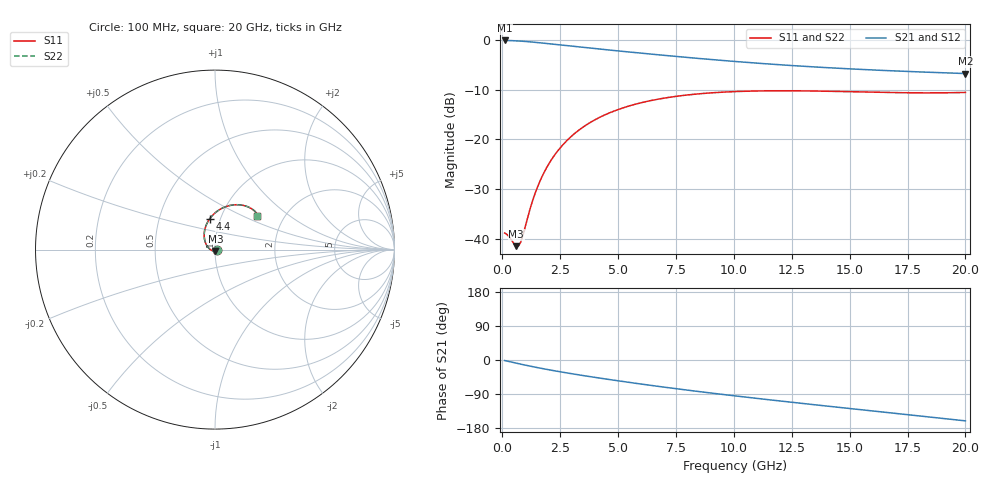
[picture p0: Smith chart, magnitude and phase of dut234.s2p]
! Created with skrf 1.9.0 (http://scikit-rf.org).
# GHz S RI R 50.0
!freq ReS11 ImS11 ReS21 ImS21 ReS12 ImS12 ReS22 ImS22
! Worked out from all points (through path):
!   200 points, 100 MHz to 20 GHz, reference 50 ohm
!   highest |S21| = -0.10 dB at 100 MHz (marker M1); lowest = -6.8 dB at 20 GHz (marker M2)
!   group delay of S21, straight-line fit = 21.1 ps
!   lowest |S11| = -41.5 dB at 600 MHz (marker M3), VSWR 1.02, Z = 50.2 - j0.808 ohm
!   |S11| at or under -10 dB: start of sweep to end of sweep
!   |S22| runs from -41.5 to -10.2 dB; largest |S21 - S12| = 2.2e-15
!   S11 on the Smith chart (normalised r, x): 100 MHz: 1.02, -0.00; 4.4 GHz: 0.89, +0.32; 20 GHz: 1.46, +0.59
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0.1  0.0113 -0.00163  0.9879 -0.0243  0.9879 -0.0243  0.0113 -0.00163
0.3  0.00922 -0.00487  0.9834 -0.0722  0.9834 -0.0722  0.00922 -0.00487
0.6  0.00245 -0.00804  0.9692 -0.1419  0.9692 -0.1419  0.00245 -0.00804
0.7  -0.000634 -0.00841  0.9626 -0.1641  0.9626 -0.1641  -0.000634 -0.00841
0.8  -0.00404 -0.00836  0.9552 -0.1859  0.9552 -0.1859  -0.00404 -0.00836
1.2  -0.0197 -0.00345  0.9188 -0.2667  0.9188 -0.2667  -0.0197 -0.00345
1.4  -0.0278 0.00192  0.8974 -0.3032  0.8974 -0.3032  -0.0278 0.00192
1.6  -0.0355 0.00911  0.8746 -0.337  0.8746 -0.337  -0.0355 0.00911
1.9  -0.0457 0.0228  0.8383 -0.383  0.8383 -0.383  -0.0457 0.0228
2.2  -0.0534 0.0393  0.8006 -0.4238  0.8006 -0.4238  -0.0534 0.0393
2.6  -0.0593 0.0639  0.7493 -0.471  0.7493 -0.471  -0.0593 0.0639
3  -0.06 0.0899  0.6976 -0.5113  0.6976 -0.5113  -0.06 0.0899
3.5  -0.0542 0.1218  0.6332 -0.5532  0.6332 -0.5532  -0.0542 0.1218
4.4  -0.0291 0.1724  0.5193 -0.6091  0.5193 -0.6091  -0.0291 0.1724
5.5  0.0162 0.2167  0.3859 -0.6492  0.3859 -0.6492  0.0162 0.2167
6.8  0.0752 0.2439  0.2404 -0.6645  0.2404 -0.6645  0.0752 0.2439
8.4  0.1398 0.2491  0.084 -0.6482  0.084 -0.6482  0.1398 0.2491
10.1  0.1901 0.2353  -0.0533 -0.6035  -0.0533 -0.6035  0.1901 0.2353
11.7  0.2197 0.2157  -0.1582 -0.5461  -0.1582 -0.5461  0.2197 0.2157
13.4  0.2357 0.1956  -0.248 -0.4755  -0.248 -0.4755  0.2357 0.1956
16.7  0.2386 0.1749  -0.3705 -0.3213  -0.3705 -0.3213  0.2386 0.1749
20  0.2314 0.1847  -0.4328 -0.1525  -0.4328 -0.1525  0.2314 0.1847
